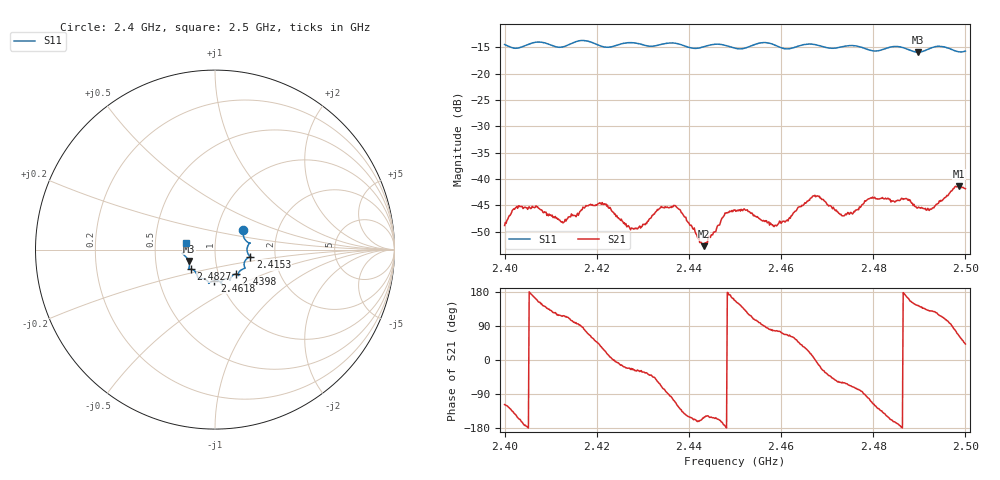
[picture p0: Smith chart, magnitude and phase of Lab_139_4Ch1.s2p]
# Hz S RI R 50
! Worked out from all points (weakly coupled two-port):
!   601 points, 2.4 GHz to 2.5 GHz, reference 50 ohm
!   highest |S21| = -41.31 dB at 2.4987 GHz (marker M1); lowest = -52.7 dB at 2.4432 GHz (marker M2)
!   lowest |S11| = -15.9 dB at 2.4897 GHz (marker M3), VSWR 1.38, Z = 36.9 - j4.83 ohm
!   |S11| at or under -10 dB: start of sweep to end of sweep
!   S12 and S22 are empty: the file has one direction only
!   S11 on the Smith chart (normalised r, x): 2.4 GHz: 1.33, +0.30; 2.4153 GHz: 1.48, -0.12; 2.4398 GHz: 1.21, -0.34; 2.4618 GHz: 0.94, -0.33; 2.4827 GHz: 0.75, -0.17; 2.5 GHz: 0.72, +0.06
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2.4e9  0.1561 0.1072  -0.00168 -0.00322  0 0  0 0
2.403167e9  0.1672 0.0567  -0.0051 -0.00227  0 0  0 0
2.4125e9  0.1789 -0.00802  -0.00169 0.00357  0 0  0 0
2.415333e9  0.1964 -0.0399  -0.00059 0.00448  0 0  0 0
2.416667e9  0.2019 -0.0438  6.89e-05 0.00512  0 0  0 0
2.421667e9  0.1687 -0.0602  0.00531 0.00245  0 0  0 0
2.427667e9  0.1677 -0.1033  0.00307 -0.00149  0 0  0 0
2.433333e9  0.1303 -0.1336  0.00267 -0.00435  0 0  0 0
2.437167e9  0.1316 -0.143  -0.00217 -0.00509  0 0  0 0
2.439833e9  0.1156 -0.1361  -0.00333 -0.00199  0 0  0 0
2.443167e9  0.0881 -0.1568  -0.00207 -0.00104  0 0  0 0
2.45e9  0.0648 -0.1624  -0.00471 0.00201  0 0  0 0
2.4585e9  0.0344 -0.185  0.000763 0.00346  0 0  0 0
2.461833e9  -0.00353 -0.1727  0.00176 0.00395  0 0  0 0
2.466667e9  -0.0349 -0.1877  0.00652 0.00145  0 0  0 0
2.473333e9  -0.0837 -0.1599  0.00232 -0.00384  0 0  0 0
2.482667e9  -0.1347 -0.1087  -0.00536 -0.00387  0 0  0 0
2.483333e9  -0.1399 -0.1084  -0.00577 -0.00309  0 0  0 0
2.489667e9  -0.147 -0.0638  -0.0043 0.00318  0 0  0 0
2.492667e9  -0.1739 -0.0288  -0.00331 0.00402  0 0  0 0
2.498667e9  -0.1604 0.0152  0.00389 0.00767  0 0  0 0
2.5e9  -0.1591 0.0388  0.006 0.00546  0 0  0 0
